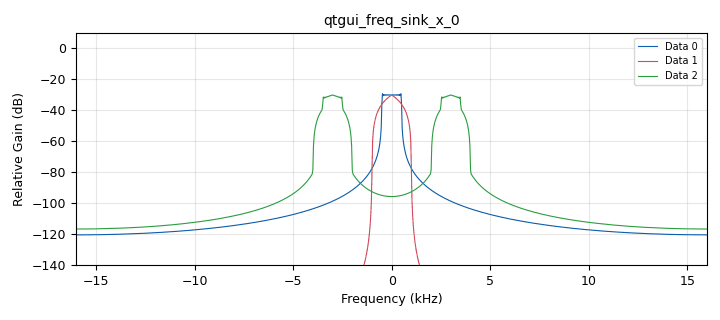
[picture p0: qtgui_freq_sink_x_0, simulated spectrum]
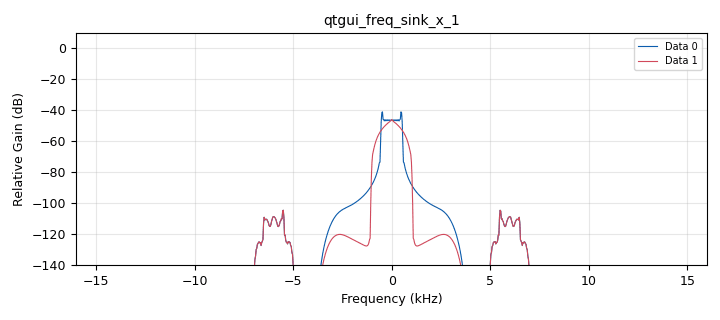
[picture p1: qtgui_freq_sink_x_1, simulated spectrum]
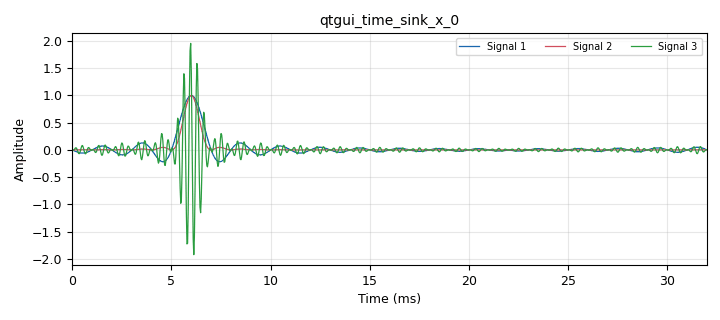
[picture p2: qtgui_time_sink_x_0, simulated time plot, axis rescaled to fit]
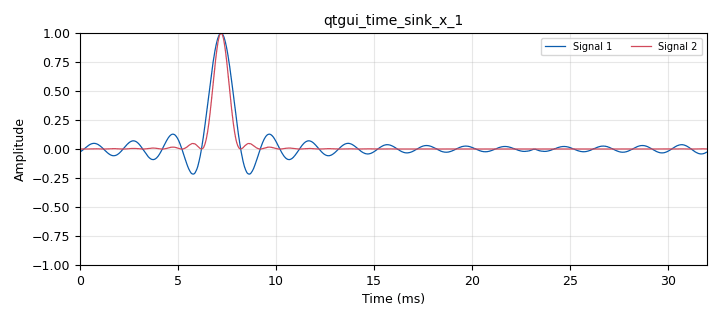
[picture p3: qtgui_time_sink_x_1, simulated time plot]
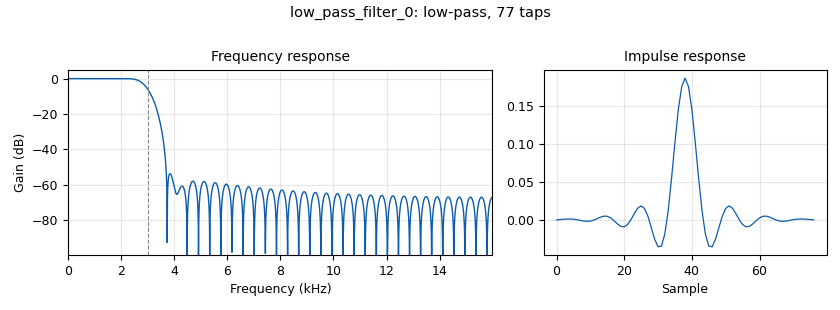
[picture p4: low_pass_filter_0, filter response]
options:
  parameters:
    generate_options: qt_gui
    id: PassBand_BaseBand
    output_language: python
    title: Not titled yet
  states: {}

blocks:
- name: fc
  id: variable_qtgui_range
  parameters:
    start: '3000'
    step: '1'
    stop: '8000'
    value: '3000'
  states: {}
- name: samp_rate
  id: variable
  parameters:
    value: '32000'
  states: {}
- name: t_taps
  id: variable
  parameters:
    value: numpy.arange(-512,512) /32
  states: {}
- name: analog_sig_source_x_0
  id: analog_sig_source_x
  parameters:
    amp: '1.414'
    freq: fc
    offset: '0'
    phase: '0'
    samp_rate: samp_rate
    type: float
    waveform: analog.GR_COS_WAVE
  states: {}
- name: analog_sig_source_x_1
  id: analog_sig_source_x
  parameters:
    amp: '-1.414'
    freq: fc
    offset: '0'
    phase: '0'
    samp_rate: samp_rate
    type: float
    waveform: analog.GR_SIN_WAVE
  states: {}
- name: blocks_add_xx_0
  id: blocks_add_xx
  parameters:
    type: float
  states: {}
- name: blocks_multiply_xx_0
  id: blocks_multiply_xx
  parameters:
    type: float
  states: {}
- name: blocks_multiply_xx_0_0
  id: blocks_multiply_xx
  parameters:
    type: float
  states: {}
- name: blocks_multiply_xx_0_1
  id: blocks_multiply_xx
  parameters:
    type: float
  states: {}
- name: blocks_multiply_xx_0_2
  id: blocks_multiply_xx
  parameters:
    type: float
  states: {}
- name: blocks_throttle2_0
  id: blocks_throttle2
  parameters:
    samples_per_second: samp_rate
    type: float
  states: {}
- name: blocks_vector_source_x_0
  id: blocks_vector_source_x
  parameters:
    repeat: 'True'
    type: float
    vector: numpy.sinc(t_taps)
  states: {}
- name: blocks_vector_source_x_0_0
  id: blocks_vector_source_x
  parameters:
    repeat: 'True'
    type: float
    vector: numpy.sinc(t_taps)**2
  states: {}
- name: import_0
  id: import
  parameters:
    imports: import numpy
  states: {}
- name: low_pass_filter_0
  id: low_pass_filter
  parameters:
    cutoff_freq: fc
    decim: '1'
    gain: '1'
    samp_rate: samp_rate
    type: fir_filter_fff
    width: '1000'
    win: window.WIN_HAMMING
  states: {}
- name: low_pass_filter_0_0
  id: low_pass_filter
  parameters:
    cutoff_freq: fc
    decim: '1'
    gain: '1'
    samp_rate: samp_rate
    type: fir_filter_fff
    width: '1000'
    win: window.WIN_HAMMING
  states: {}
- name: qtgui_freq_sink_x_0
  id: qtgui_freq_sink_x
  parameters:
    bw: samp_rate
    fc: '0'
    fftsize: '1024'
    nconnections: '3'
    type: float
    wintype: window.WIN_RECTANGULAR
  states: {}
- name: qtgui_freq_sink_x_1
  id: qtgui_freq_sink_x
  parameters:
    bw: samp_rate
    fc: '0'
    fftsize: '1024'
    nconnections: '2'
    type: float
  states: {}
- name: qtgui_time_sink_x_0
  id: qtgui_time_sink_x
  parameters:
    nconnections: '3'
    size: '1024'
    srate: samp_rate
    type: float
  states: {}
- name: qtgui_time_sink_x_1
  id: qtgui_time_sink_x
  parameters:
    nconnections: '2'
    size: '1024'
    srate: samp_rate
    type: float
  states: {}

connections:
- [analog_sig_source_x_0, '0', blocks_multiply_xx_0, '1']
- [analog_sig_source_x_0, '0', blocks_multiply_xx_0_2, '1']
- [analog_sig_source_x_1, '0', blocks_multiply_xx_0_0, '1']
- [analog_sig_source_x_1, '0', blocks_multiply_xx_0_1, '1']
- [blocks_add_xx_0, '0', blocks_multiply_xx_0_1, '0']
- [blocks_add_xx_0, '0', blocks_multiply_xx_0_2, '0']
- [blocks_add_xx_0, '0', qtgui_freq_sink_x_0, '2']
- [blocks_add_xx_0, '0', qtgui_time_sink_x_0, '2']
- [blocks_multiply_xx_0, '0', blocks_add_xx_0, '0']
- [blocks_multiply_xx_0_0, '0', blocks_add_xx_0, '1']
- [blocks_multiply_xx_0_1, '0', low_pass_filter_0_0, '0']
- [blocks_multiply_xx_0_2, '0', low_pass_filter_0, '0']
- [blocks_throttle2_0, '0', qtgui_freq_sink_x_0, '0']
- [blocks_throttle2_0, '0', qtgui_time_sink_x_0, '0']
- [blocks_vector_source_x_0, '0', blocks_multiply_xx_0, '0']
- [blocks_vector_source_x_0, '0', blocks_throttle2_0, '0']
- [blocks_vector_source_x_0_0, '0', blocks_multiply_xx_0_0, '0']
- [blocks_vector_source_x_0_0, '0', qtgui_freq_sink_x_0, '1']
- [blocks_vector_source_x_0_0, '0', qtgui_time_sink_x_0, '1']
- [low_pass_filter_0, '0', qtgui_freq_sink_x_1, '0']
- [low_pass_filter_0, '0', qtgui_time_sink_x_1, '0']
- [low_pass_filter_0_0, '0', qtgui_freq_sink_x_1, '1']
- [low_pass_filter_0_0, '0', qtgui_time_sink_x_1, '1']

metadata:
  file_format: 1
  grc_version: 3.10.10.0
